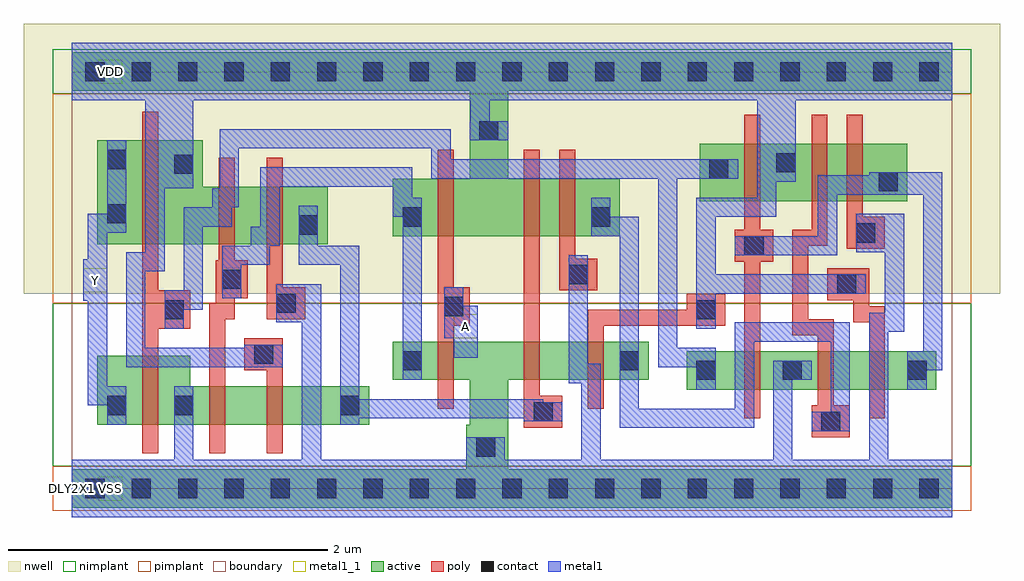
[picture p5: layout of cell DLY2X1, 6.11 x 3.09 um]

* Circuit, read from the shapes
.subckt DLY2X1 A VDD VSS Y
M1 VSS n1 Y VSS nfet w=0.43u l=0.1u
M2 n2 n3 VSS VSS nfet w=0.24u l=0.1u
M3 n4 VDD n2 VSS nfet w=0.24u l=0.1u
M4 VSS A n3 VSS nfet w=0.24u l=0.1u
M5 n5 n4 VSS VSS nfet w=0.24u l=0.1u
M6 n6 VDD n5 VSS nfet w=0.24u l=0.1u
M7 VSS n7 n1 VSS nfet w=0.24u l=0.1u
M8 n8 n6 VSS VSS nfet w=0.24u l=0.1u
M9 n7 VDD n8 VSS nfet w=0.24u l=0.1u
M10 VDD n1 Y VDD pfet w=0.65u l=0.1u
M11 n9 n3 VDD VDD pfet w=0.36u l=0.1u
M12 n4 VSS n9 VDD pfet w=0.36u l=0.1u
M13 VDD A n3 VDD pfet w=0.36u l=0.1u
M14 n10 n4 VDD VDD pfet w=0.36u l=0.1u
M15 n6 VSS n10 VDD pfet w=0.36u l=0.1u
M16 VDD n7 n1 VDD pfet w=0.36u l=0.1u
M17 n11 n6 VDD VDD pfet w=0.36u l=0.1u
M18 n7 VSS n11 VDD pfet w=0.36u l=0.1u
.ends

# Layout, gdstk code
import gdstk
lib = gdstk.Library(unit=1e-6, precision=5e-10)
def R(c, l, rs):  # rectangles x0, y0, x1, y1
    for r in rs: c.add(gdstk.rectangle(r[:2], r[2:], *l))
def A(c, l, x, y, w, h, nx, ny, dx, dy):  # array of equal rectangles
    R(c, l, [(x+i*dx, y+j*dy, x+i*dx+w, y+j*dy+h) for i in range(nx) for j in range(ny)])
active = (1, 0)
nwell = (2, 0)
poly = (3, 0)
nimplant = (4, 0)
pimplant = (5, 0)
contact = (6, 0)
metal1 = (7, 0)
metal1_1 = (7, 1)
boundary = (62, 0)

dly2x1 = lib.new_cell('DLY2X1')
R(dly2x1, active, [(0,-0.12,5.51,0.12), (2.47,0.12,2.73,0.4), (0.16,0.4,1.86,0.64), (2.49,0.4,2.73,0.68), (3.85,0.62,5.41,0.86), (0.16,0.64,0.74,0.83), (2.01,0.68,3.61,0.92), (0.16,1.53,1.6,1.89), (2.01,1.58,3.43,1.94), (3.93,1.8,5.23,2.16), (0.16,1.89,0.82,2.18), (2.49,1.94,2.73,2.49), (0,2.49,5.51,2.73)])
R(dly2x1, nwell, [(-0.3,1.22,5.81,2.91)])
R(dly2x1, poly, [(0.44,0.22,0.54,1), (0.86,0.22,0.96,1.06), (1.22,0.22,1.32,0.74), (4.63,0.32,4.87,0.52), (2.83,0.38,3.07,0.58), (4.21,0.44,4.31,1.42), (4.99,0.44,5.09,1.04), (2.29,0.5,2.39,1.02), (3.23,0.5,3.33,1.02), (4.67,0.52,4.77,0.96), (2.83,0.58,2.93,2.12), (1.08,0.74,1.32,0.94), (4.51,0.96,4.77,1.06), (0.44,1,0.74,1.24), (2.29,1.02,2.49,1.26), (3.23,1.02,4.09,1.12), (4.89,1.04,5.09,1.14), (0.86,1.06,1.02,1.16), (1.22,1.06,1.46,1.26), (4.51,1.06,4.61,1.52), (3.85,1.12,4.09,1.22), (4.89,1.14,4.99,1.18), (0.9,1.16,1.02,1.19), (4.73,1.18,4.99,1.38), (0.9,1.19,1.1,1.43), (0.44,1.24,0.54,2.36), (3.05,1.24,3.29,1.44), (1.22,1.26,1.32,2.07), (2.29,1.26,2.39,2.12), (4.15,1.42,4.39,1.62), (0.92,1.43,1.02,2.07), (3.05,1.44,3.15,2.12), (4.85,1.5,5.09,1.7), (4.51,1.52,4.73,1.62), (4.21,1.62,4.31,2.34), (4.63,1.62,4.73,2.34), (4.85,1.7,4.95,2.34)])
R(dly2x1, nimplant, [(-0.12,0.14,5.63,1.16), (-0.12,2.47,5.63,2.75)])
R(dly2x1, pimplant, [(-0.12,-0.14,5.63,0.14), (-0.12,1.16,5.63,2.47)])
A(dly2x1, contact, 0.085, -0.06, 0.12, 0.12, 19, 2, 0.29, 2.61)
R(dly2x1, contact, [(2.53,0.2,2.65,0.32), (4.69,0.36,4.81,0.48), (2.89,0.42,3.01,0.54), (0.22,0.46,0.34,0.58), (0.64,0.46,0.76,0.58), (1.68,0.46,1.8,0.58), (3.91,0.68,4.03,0.8), (4.45,0.68,4.57,0.8), (5.23,0.68,5.35,0.8), (2.07,0.74,2.19,0.86), (3.43,0.74,3.55,0.86), (1.14,0.78,1.26,0.9), (0.58,1.06,0.7,1.18), (3.91,1.06,4.03,1.18), (2.33,1.08,2.45,1.2), (1.28,1.1,1.4,1.22), (4.79,1.22,4.91,1.34), (0.94,1.25,1.06,1.37), (3.11,1.28,3.23,1.4), (4.21,1.46,4.33,1.58), (4.91,1.54,5.03,1.66), (1.42,1.59,1.54,1.71), (2.07,1.64,2.19,1.76), (3.25,1.64,3.37,1.76), (0.22,1.66,0.34,1.78), (5.05,1.86,5.17,1.98), (3.99,1.94,4.11,2.06), (0.64,1.97,0.76,2.09), (4.41,1.98,4.53,2.1), (0.22,2,0.34,2.12), (2.55,2.18,2.67,2.3)])
R(dly2x1, metal1, [(0,-0.18,5.51,0.18), (0.64,0.18,0.76,0.64), (1.44,0.18,1.56,1.04), (2.47,0.18,2.71,0.32), (3.19,0.18,3.31,0.66), (4.39,0.18,4.51,0.68), (4.99,0.18,5.11,0.98), (4.63,0.36,4.87,0.48), (3.43,0.38,4.27,0.5), (0.22,0.4,0.34,0.52), (1.68,0.4,1.8,0.44), (2.83,0.42,3.07,0.44), (1.68,0.44,3.07,0.54), (4.75,0.48,4.87,0.92), (3.43,0.5,3.55,1.58), (4.15,0.5,4.27,0.92), (0.1,0.52,0.34,0.64), (1.68,0.54,2.95,0.56), (1.68,0.56,1.8,1.4), (3.91,0.62,4.03,0.76), (5.23,0.62,5.35,0.74), (0.1,0.64,0.22,1.175), (3.11,0.66,3.31,0.78), (2.07,0.68,2.19,1.7), (4.39,0.68,4.63,0.8), (5.23,0.74,5.45,0.86), (0.34,0.76,1.32,0.88), (3.67,0.76,4.03,0.88), (3.11,0.78,3.23,1.46), (2.39,0.82,2.54,0.94), (5.33,0.86,5.45,1.84), (0.34,0.88,0.46,1.36), (1.08,0.88,1.32,0.9), (3.67,0.88,3.79,1.94), (4.15,0.92,4.87,1.04), (2.33,0.94,2.54,1.145), (4.99,0.98,5.21,1.1), (0.58,1,0.7,1.12), (3.91,1,4.03,1.22), (1.28,1.04,1.56,1.28), (5.09,1.1,5.21,1.48), (0.58,1.12,0.82,1.24), (2.33,1.145,2.45,1.26), (0.07,1.175,0.22,1.435), (0.94,1.19,1.06,1.4), (3.91,1.22,4.97,1.34), (0.7,1.24,0.82,1.64), (3.91,1.34,4.03,1.7), (0.34,1.36,0.58,1.48), (0.94,1.4,1.24,1.52), (1.42,1.4,1.8,1.52), (0.1,1.435,0.22,1.6), (4.15,1.46,4.79,1.58), (0.46,1.48,0.58,1.88), (4.91,1.48,5.21,1.72), (1.12,1.52,1.3,1.64), (1.42,1.52,1.54,1.77), (3.25,1.58,3.55,1.7), (4.67,1.58,4.79,1.84), (0.1,1.6,0.34,1.72), (0.7,1.64,1,1.76), (1.18,1.64,1.3,1.89), (2.01,1.7,2.19,1.82), (3.25,1.7,3.37,1.82), (3.91,1.7,4.41,1.82), (0.22,1.72,0.34,2.18), (0.88,1.76,1.045,1.88), (2.01,1.82,2.13,1.89), (4.29,1.82,4.41,1.92), (4.67,1.84,5.45,1.96), (0.46,1.88,0.76,2.43), (0.925,1.88,1.045,2.13), (1.18,1.89,2.13,2.01), (4.29,1.92,4.53,2.43), (2.25,1.94,4.17,2.06), (4.99,1.96,5.45,1.98), (2.25,2.06,2.37,2.13), (0.925,2.13,2.37,2.25), (2.49,2.18,2.73,2.3), (2.495,2.3,2.615,2.43), (0,2.43,5.51,2.79)])
R(dly2x1, metal1_1, [(0.165,-0.075,0.315,0.075), (2.39,0.94,2.54,1.09), (0.07,1.23,0.22,1.38), (0.165,2.535,0.315,2.685)])
R(dly2x1, boundary, [(0,0,5.51,2.61)])
dly2x1.add(gdstk.Label('DLY2X1', (0,0), layer=63, texttype=0))
dly2x1.add(gdstk.Label('VSS', (0.24,0), layer=7, texttype=3))
dly2x1.add(gdstk.Label('VDD', (0.24,2.61), layer=7, texttype=3))
dly2x1.add(gdstk.Label('A', (2.465,1.015), layer=7, texttype=3))
dly2x1.add(gdstk.Label('Y', (0.145,1.305), layer=7, texttype=3))

lib.write_gds('DLY2X1.gds')
